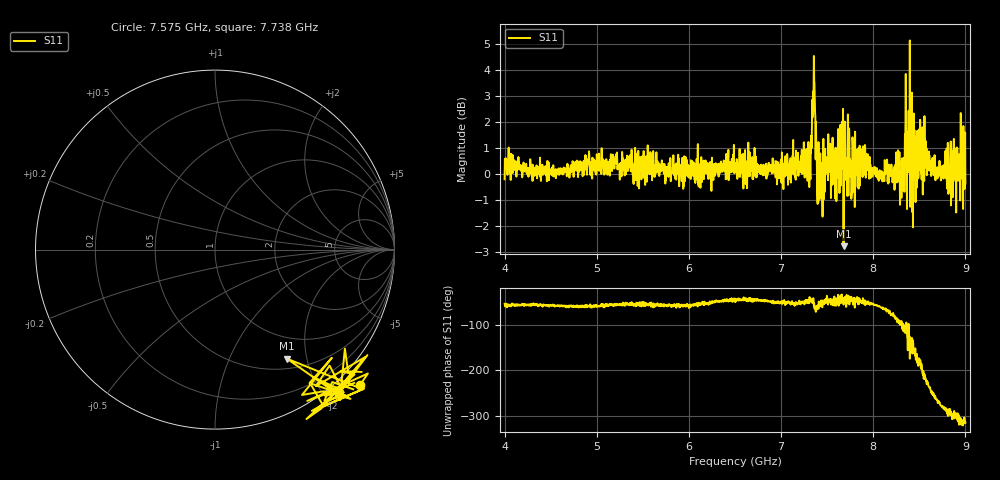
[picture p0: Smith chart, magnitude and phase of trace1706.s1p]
! Created with skrf 1.8.0 (http://scikit-rf.org).
# Hz S RI R 50.0
!freq ReS11 ImS11
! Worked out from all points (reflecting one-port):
!   1601 points, 4 GHz to 9 GHz, reference 50 ohm
!   lowest |S11| = -2.8 dB at 7.678 GHz (marker M1), VSWR 6.34, Z = 32.3 - j83.4 ohm
!   phase of S11 starts at -55 deg and turns -258 deg over the sweep
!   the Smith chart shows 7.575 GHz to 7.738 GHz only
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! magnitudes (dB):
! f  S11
! 4 GHz  -0.2
! 4.625 GHz  0.0
! 5.25 GHz  -0.2
! 5.875 GHz  0.3
! 6.5 GHz  0.3
! 7.125 GHz  0.7
! 7.294 GHz  0.3
! 7.353 GHz  3.3
! 7.362 GHz  3.4
! 7.397 GHz  -1.1
! 7.412 GHz  -0.4
! 7.512 GHz  1.5
! 7.588 GHz  -0.9
! 7.65 GHz  1.4
! 7.678 GHz  -2.8
! 7.75 GHz  0.1
! 7.775 GHz  1.4
! 7.888 GHz  1.1
! 8.312 GHz  0.6
! 8.334 GHz  0.5
! 8.375 GHz  1.6
! 8.447 GHz  1.7
! 8.553 GHz  -0.3
! 8.606 GHz  0.5
! 8.841 GHz  1.2
! 8.862 GHz  -0.9
! 8.972 GHz  0.7
! 9 GHz  -0.4
